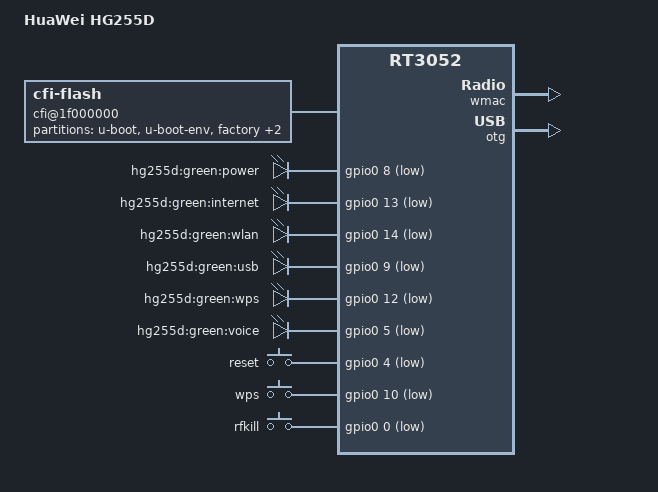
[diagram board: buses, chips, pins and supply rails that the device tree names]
/dts-v1/;

#include "rt3050.dtsi"

/ {
	compatible = "HG255D", "ralink,rt3052-soc";
	model = "HuaWei HG255D";

	cfi@1f000000 {
		compatible = "cfi-flash";
		reg = <0x1f000000 0x1000000>;
		bank-width = <2>;
		device-width = <2>;
		#address-cells = <1>;
		#size-cells = <1>;

		partition@0 {
			label = "u-boot";
			reg = <0x0 0x40000>;
			read-only;
		};

		partition@30000 {
			label = "u-boot-env";
			reg = <0x40000 0x20000>;
			read-only;
		};

		factory: partition@60000 {
			label = "factory";
			reg = <0x60000 0x20000>;
			read-only;
		};

		partition@80000 {
			label = "firmware";
			reg = <0x80000 0xf60000>;
		};

		partition@fa0000 {
			label = "factory-orig";
			reg = <0xfa0000 0x20000>;
			read-only;
		};
	};

	gpio-leds {
		compatible = "gpio-leds";

		power {
			label = "hg255d:green:power";
			gpios = <&gpio0 8 1>;
		};

		internet {
			label = "hg255d:green:internet";
			gpios = <&gpio0 13 1>;
		};

		wifi {
			label = "hg255d:green:wlan";
			gpios = <&gpio0 14 1>;
		};

		usb {
			label = "hg255d:green:usb";
			gpios = <&gpio0 9 1>;
		};

		wps {
			label = "hg255d:green:wps";
			gpios = <&gpio0 12 1>;
		};

		voice {
			label = "hg255d:green:voice";
			gpios = <&gpio0 5 1>;
		};
	};

	gpio-keys-polled {
		compatible = "gpio-keys-polled";
		#address-cells = <1>;
		#size-cells = <0>;
		poll-interval = <10>;

		reset {
			label = "reset";
			gpios = <&gpio0 4 1>;
			linux,code = <0x198>;
		};

		wps {
			label = "wps";
			gpios = <&gpio0 10 1>;
			linux,code = <0x211>;
		};

		rfkill {
			label = "rfkill";
			gpios = <&gpio0 0 1>;
			linux,code = <0xf7>;
		};
	};
};

&pinctrl {
	state_default: pinctrl0 {
		gpio {
			ralink,group = "spi", "i2c", "jtag", "rgmii", "mdio", "uartf";
			ralink,function = "gpio";
		};
	};
};

&ethernet {
	mtd-mac-address = <&factory 0x28>;
};

&esw {
	mediatek,portmap = <0x2f>;
};

&wmac {
	ralink,mtd-eeprom = <&factory 0>;
};

&otg {
	status = "okay";
};
